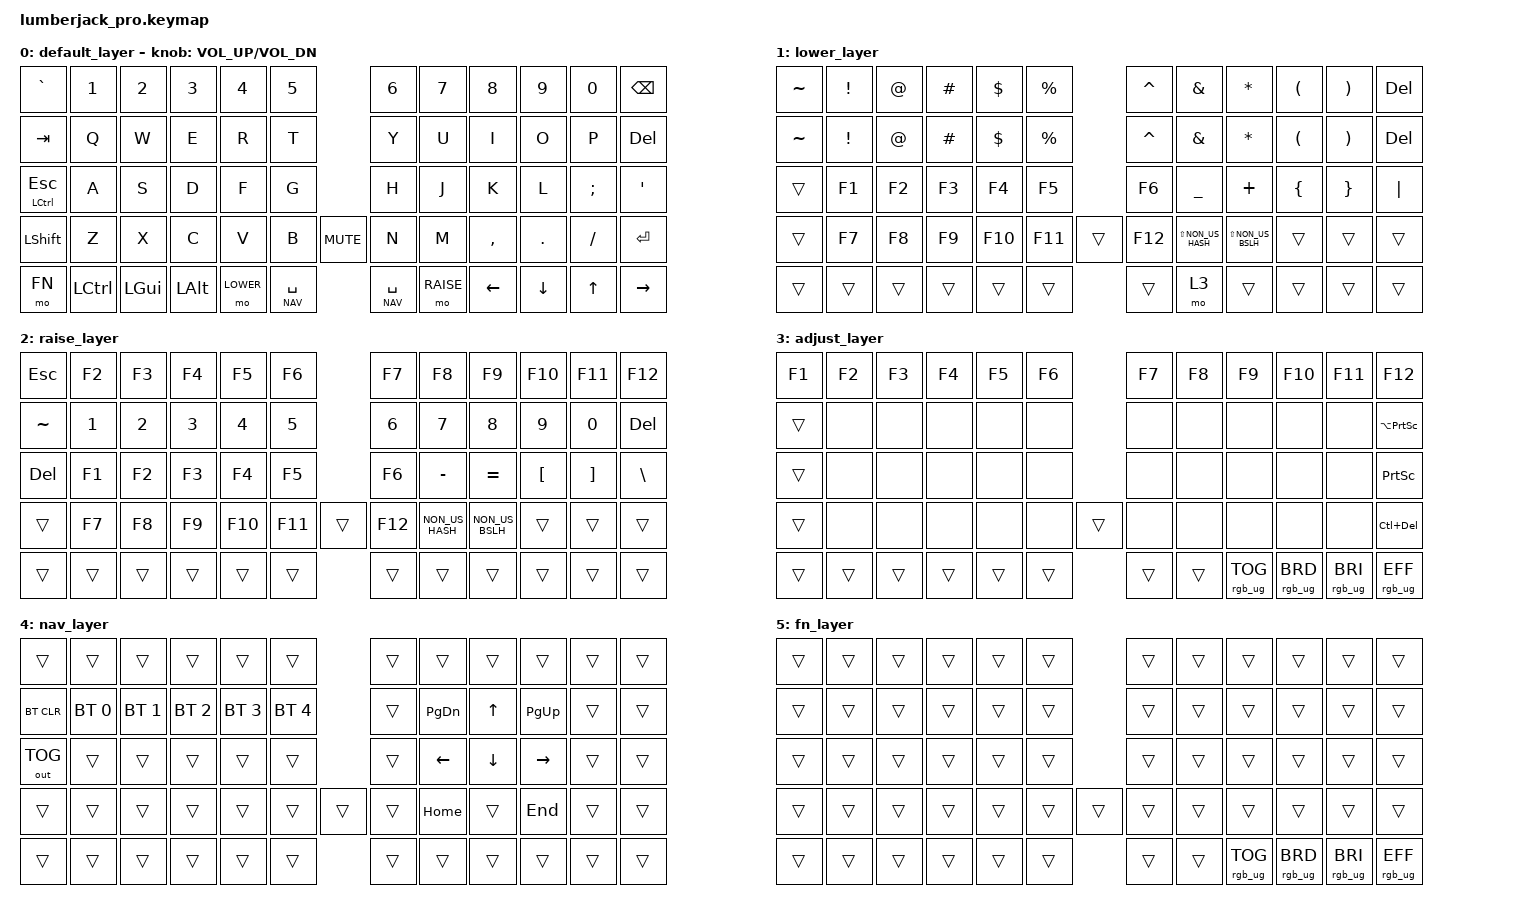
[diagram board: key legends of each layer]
/*
 * Copyright (c) 2021 The ZMK Contributors
 *
 * SPDX-License-Identifier: MIT
 */

#include <behaviors.dtsi>
#include <dt-bindings/zmk/keys.h>
#include <dt-bindings/zmk/bt.h>
#include <dt-bindings/zmk/outputs.h>
#include <dt-bindings/zmk/rgb.h>
#include <dt-bindings/zmk/ext_power.h>

#define BASE 0
#define LOWER 1
#define RAISE 2
#define ADJUST 3
#define NAV 4
#define FN 5

/* Uncomment to enable the encoder */
// &sensors {
//     status = "okay";
// };
// &encoder { status = "okay"; };

/ {

    // Activate ADJUST layer by pressing raise and lower
    conditional_layers {
        compatible = "zmk,conditional-layers";
        adjust_layer {
            if-layers = <LOWER RAISE>;
            then-layer = <ADJUST>;
        };
    };

    keymap {
        compatible = "zmk,keymap";

        default_layer {
            // ------------------------------------------------------------------------------------------
            // |  ESC     |  1   |  2   |  3   |  4   |  5   |   6   |  7    |  8   |  9   |   0   | BSPC  |
            // |  TAB     |  Q   |  W   |  E   |  R   |  T   |   Y   |  U    |  I   |  O   |   P   | DEL   |
            // | LCTL/ESC |  A   |  S   |  D   |  F   |  G   |   H   |  J    |  K   |  L   |   ;   |  '    |
            // | SHIFT    |  Z   |  X   |  C   |  V   |  B   |   N   |  M    |  ,   |  .   |   /   | ENTER |
            // |ADJUST | LCTL | LGUI | LALT | LOWR | SPACE| SPACE |  RAIS | LARW | DARW | UARW  | RARW  |

            bindings = <
                &kp GRAVE      &kp N1       &kp N2      &kp N3   &kp N4     &kp N5                      &kp N6         &kp N7      &kp N8      &kp N9      &kp N0      &kp BSPC
                &kp TAB        &kp Q        &kp W       &kp E    &kp R      &kp T                       &kp Y          &kp U       &kp I       &kp O       &kp P       &kp DEL
                &mt LCTRL ESC  &kp A        &kp S       &kp D    &kp F      &kp G                       &kp H          &kp J       &kp K       &kp L       &kp SEMI    &kp SQT
                &kp LSHFT      &kp Z        &kp X       &kp C    &kp V      &kp B          &kp C_MUTE   &kp N          &kp M       &kp COMMA   &kp DOT     &kp FSLH    &kp RET
                &mo FN         &kp LCTRL    &kp LGUI    &kp LALT &mo LOWER  &lt NAV SPACE               &lt NAV SPACE  &mo RAISE   &kp LEFT    &kp DOWN    &kp UP      &kp RIGHT
            >;

            sensor-bindings = <&inc_dec_kp C_VOL_UP C_VOL_DN>;
        };

        lower_layer {
            // -------------------------------------------------------------------------------------------
            // |  ESC  |  F2  |  F3  |  F4  |  F5  |  F6  |   F7  |  F8   |  F9  | F10  |  F11  |  F12  |
            // |   ~   |  !   |  @   |  #   |  $   |  %   |   ^   |   &   |  *   |  (   |   )   |  DEL  |
            // |       |  F1  |  F2  |  F3  |  F4  |  F5  |   F6  |   _   |  +   |  {   |   }   |   |   |
            // |       |  F7  |  F8  |  F9  |  F10 |  F11 |   F12 | LS(#) |LS(|) |      |       |       |
            // |       |      |      |      |      |      |       |       | NEXT | Vol- | Vol+ | PLAY   |

            bindings = <
                &kp TILDE &kp EXCL &kp AT   &kp HASH &kp DLLR  &kp PRCNT              &kp CARET   &kp AMPS            &kp ASTRK           &kp LPAR     &kp RPAR         &kp DEL
                &kp TILDE &kp EXCL &kp AT   &kp HASH &kp DLLR  &kp PRCNT              &kp CARET   &kp AMPS            &kp ASTRK           &kp LPAR     &kp RPAR         &kp DEL
                &trans    &kp F1   &kp F2   &kp F3   &kp F4    &kp F5                 &kp F6      &kp UNDER           &kp PLUS            &kp LBRC     &kp RBRC         &kp PIPE
                &trans    &kp F7   &kp F8   &kp F9   &kp F10   &kp F11      &trans    &kp F12     &kp LS(NON_US_HASH) &kp LS(NON_US_BSLH) &trans       &trans           &trans
                &trans    &trans   &trans   &trans   &trans    &trans                 &trans      &mo 3               &trans              &trans       &trans           &trans
            >;
        };

        raise_layer {
            // ------------------------------------------------------------------------------------------
            // |  ESC  |  F2  |  F3  |  F4  |  F5  |  F6  |  F7   |  F8   |  F9  | F10  |  F11  |  F12  |
            // |   ~   |  1   |  2   |  3   |  4   |  5   |  6    |   7   |  8   |  9   |   0   |  DEL  |
            // |  DEL  |  F1  |  F2  |  F3  |  F4  |  F5  |  F6   |   -   |  =   |  [   |   ]   |   \   |
            // |       |  F7  |  F8  |  F9  |  F10 |  F11 |  F12  |   #   |  |   |      |       |       |
            // |       |      |      |      |      |      |       |       |       |      |      |       |

            bindings = <
                &kp ESC   &kp F2   &kp F3   &kp F4   &kp F5    &kp F6              &kp F7    &kp F8          &kp F9          &kp F10      &kp F11          &kp F12
                &kp TILDE &kp N1   &kp N2   &kp N3   &kp N4    &kp N5              &kp N6    &kp N7          &kp N8          &kp N9       &kp N0           &kp DEL
                &kp DEL   &kp F1   &kp F2   &kp F3   &kp F4    &kp F5              &kp F6    &kp MINUS       &kp EQUAL       &kp LBKT     &kp RBKT         &kp BSLH
                &trans    &kp F7   &kp F8   &kp F9   &kp F10   &kp F11   &trans    &kp F12   &kp NON_US_HASH &kp NON_US_BSLH &trans       &trans           &trans
                &trans    &trans   &trans   &trans   &trans    &trans              &trans    &trans          &trans          &trans       &trans           &trans
            >;
        };

        adjust_layer {
            // ------------------------------------------------------------------------------------------
            // |tog(4)|  F2  |  F3  |  F4  |  F5  |  F6  |  F7  |  F8  |  F9  |  F10 |  F11 |    F12    |
            // |      |  NA  |  NA  |  NA  |  NA  |  NA  |  NA  |  NA  |  NA  |  NA  |  NA  |LALT(PRTSN)|
            // |      |  NA  |  NA  |  NA  |  NA  |  NA  |  NA  |  NA  |  NA  |  NA  |  NA  |   PRTSN   |
            // |      |  NA  |  NA  |  NA  |  NA  |  NA  |  NA  |  NA  |  NA  |  NA  |  NA  |LCTRL(DEL) |
            // |      |      |      |      |      |BOOTLD|BOOTLD|      |      |      |      |           |

            bindings = <
                &kp F1 &kp F2 &kp F3 &kp F4 &kp F5 &kp F6           &kp F7 &kp F8 &kp F9 &kp F10 &kp F11 &kp F12
                &trans &none  &none  &none  &none  &none            &none  &none  &none   &none   &none   &kp LA(PSCRN)
                &trans &none  &none  &none  &none  &none            &none  &none  &none   &none   &none   &kp PSCRN
                &trans &none  &none  &none  &none  &none   &trans   &none  &none  &none   &none   &none   &kp LC(DEL)
                &trans &trans &trans &trans &trans &trans           &trans &trans &rgb_ug RGB_TOG  &rgb_ug RGB_BRD  &rgb_ug RGB_BRI  &rgb_ug RGB_EFF
            >;
        };

        nav_layer {
            // ----------------------------------------------------------------------------------------------
            // |tog(4) |  F2    |   F3   |   F4   |   F5   |   F6   |  F7  |  F8  |  F9  | F10 | F11 |      |
            // |out tog|BT_SEL 0|BT_SEL 1|BT_SEL 2|BT_SEL 3|BT_SEL 4|BT_PRV|BT_NXT|BT_CLR|     |     |      |
            // |       |        |        |        |        |        |      |      |      |     |     |      |
            // |       |        |        |        |        |        |      |      |      |     |     |      |
            // |       |        |        |        |        |        |      |      |      |     |     |      |

            bindings = <
                &trans       &trans       &trans       &trans       &trans       &trans                    &trans     &trans     &trans     &trans     &trans  &trans
                &bt BT_CLR   &bt BT_SEL 0 &bt BT_SEL 1 &bt BT_SEL 2 &bt BT_SEL 3 &bt BT_SEL 4              &trans     &kp PG_DN  &kp UP     &kp PG_UP  &trans  &trans
                &out OUT_TOG &trans       &trans       &trans       &trans       &trans                    &trans     &kp LEFT   &kp DOWN   &kp RIGHT  &trans  &trans
                &trans       &trans       &trans       &trans       &trans       &trans       &trans       &trans     &kp HOME   &trans     &kp END    &trans  &trans
                &trans       &trans       &trans       &trans       &trans       &trans                    &trans     &trans     &trans     &trans     &trans  &trans
            >;
        };

        fn_layer {
            // ----------------------------------------------------------------------------------------------
            // |tog(4) |  F2    |   F3   |   F4   |   F5   |   F6   |  F7  |  F8  |  F9  | F10 | F11 |      |
            // |out tog|BT_SEL 0|BT_SEL 1|BT_SEL 2|BT_SEL 3|BT_SEL 4|BT_PRV|BT_NXT|BT_CLR|     |     |      |
            // |       |        |        |        |        |        |      |      |      |     |     |      |
            // |       |        |        |        |        |        |      |      |      |     |     |      |
            // |       |        |        |        |        |        |      |      |      |     |     |      |

            bindings = <
                &trans       &trans       &trans       &trans       &trans       &trans                    &trans     &trans     &trans     &trans     &trans  &trans
                &trans       &trans       &trans       &trans       &trans       &trans                    &trans     &trans     &trans     &trans     &trans  &trans
                &trans       &trans       &trans       &trans       &trans       &trans                    &trans     &trans     &trans     &trans     &trans  &trans
                &trans       &trans       &trans       &trans       &trans       &trans       &trans       &trans     &trans     &trans     &trans     &trans  &trans
                &trans       &trans       &trans       &trans       &trans       &trans                    &trans     &trans     &rgb_ug RGB_TOG  &rgb_ug RGB_BRD  &rgb_ug RGB_BRI  &rgb_ug RGB_EFF
            >;
         };
    };
};
